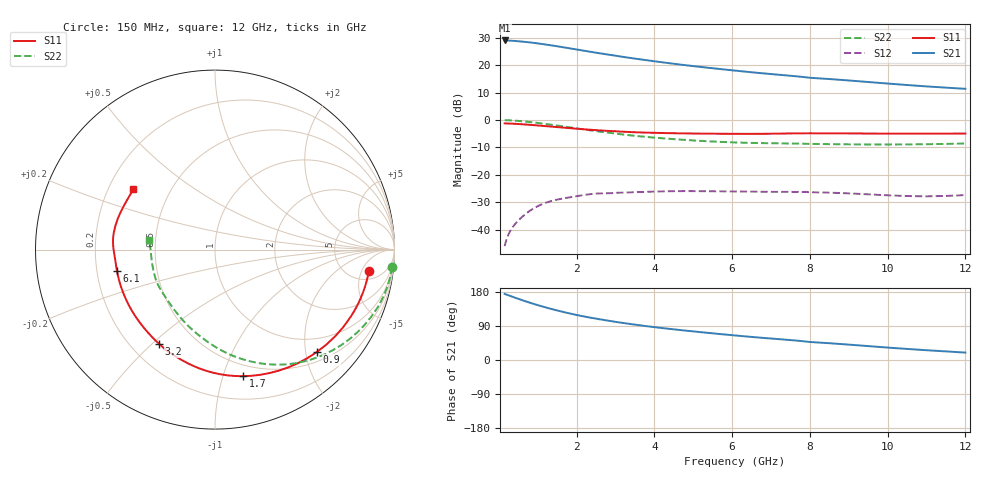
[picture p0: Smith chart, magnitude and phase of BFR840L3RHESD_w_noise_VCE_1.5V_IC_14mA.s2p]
! Infineon Technologies  Discrete & RF Semiconductors
! BFR840L3RHESD
! VCE =  1.5 V,  IC =  14 mA
! Common Emitter S-Parameters:  Jun 2012
# GHz  S  MA  R  50
!  f  S11  S21  S12  S22
! GHz  MAG  ANG  MAG  ANG  MAG  ANG  MAG  ANG
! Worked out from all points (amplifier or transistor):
!   91 points, 150 MHz to 12 GHz, reference 50 ohm
!   highest |S21| = 29.0 dB at 150 MHz (marker M1)
!   |S21| within 3 dB of that: start of sweep to 1.88 GHz
!   unconditionally stable (mu >= 1): 7.906 GHz to end of sweep
!   at 1.3 GHz: K = 0.16, MSG = 28.5 dB, |S12| = -29.8 dB
!   at 4.3 GHz: K = 0.49, MSG = 23.4 dB, |S12| = -26.0 dB
!   at 12 GHz: K = 1.94, MAG = 13.8 dB, |S12| = -27.4 dB
!   lowest NFmin = 0.86 dB at 450 MHz
!   S11 on the Smith chart (normalised r, x): 150 MHz: 7.18, -6.90; 900 MHz: 0.69, -2.23; 1.7 GHz: 0.40, -1.16; 3.2 GHz: 0.31, -0.53; 6.1 GHz: 0.29, -0.10; 12 GHz: 0.30, +0.30
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0.15  0.8655 -8.0  28.17 174.4  0.005 82.9  0.9916 -5.6
0.35  0.8557 -18.5  27.77 167.0  0.0109 79.1  0.9781 -13.8
0.6  0.8353 -31.0  26.86 157.9  0.0171 71.1  0.9478 -23.2
0.7  0.8256 -35.8  26.41 154.5  0.0196 67.8  0.9328 -26.8
0.9  0.8049 -45.1  25.43 148.0  0.0245 62.1  0.8999 -33.7
1.1  0.7834 -53.9  24.36 141.9  0.0289 57.6  0.8647 -40.2
1.3  0.7623 -62.2  23.22 136.2  0.0325 53.9  0.8285 -46.4
1.5  0.7418 -70.1  22.07 130.8  0.0353 50.5  0.792 -52.2
1.7  0.7221 -77.6  20.93 125.7  0.0376 47.2  0.7557 -57.7
2  0.6938 -88.1  19.3 118.8  0.0408 42.4  0.703 -65.3
2.2  0.6761 -94.5  18.27 114.7  0.0429 39.5  0.6702 -69.9
2.4  0.6598 -100.3  17.31 110.9  0.0447 36.9  0.6401 -74.3
2.7  0.6389 -108.2  16.01 105.7  0.046 33.6  0.6007 -80.3
3.2  0.6105 -120.6  14.12 97.7  0.0474 29.1  0.5426 -89.7
3.7  0.5907 -131.1  12.57 90.6  0.0487 25.7  0.4981 -98.0
4.2  0.5785 -140.2  11.27 84.3  0.0499 23.1  0.4641 -105.7
5.2  0.5643 -156.0  9.256 73.4  0.0503 18.7  0.4153 -120.0
6.1  0.5588 -167.6  7.917 64.6  0.0497 16.4  0.3888 -131.9
8  0.5717 170.8  5.882 47.5  0.0482 13.2  0.366 -156.7
8.5  0.5707 166.8  5.578 44.3  0.0473 12.8  0.3624 -161.1
10.5  0.5623 151.2  4.336 29.2  0.041 17.4  0.3585 -179.1
12  0.5664 143.5  3.7 19.5  0.0427 28.0  0.3726 171.4
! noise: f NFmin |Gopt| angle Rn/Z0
0.45  0.86  0.2  6  0.14
0.9  0.9  0.2  11  0.14
1.9  0.92  0.21  33  0.14
3.5  0.92  0.22  57  0.13
4  0.94  0.22  64  0.13
5.5  0.96  0.24  80  0.12
7  1.01  0.25  99  0.12
8  1.07  0.25  111  0.11
10  1.16  0.24  129  0.11
12  1.28  0.24  167  0.11
